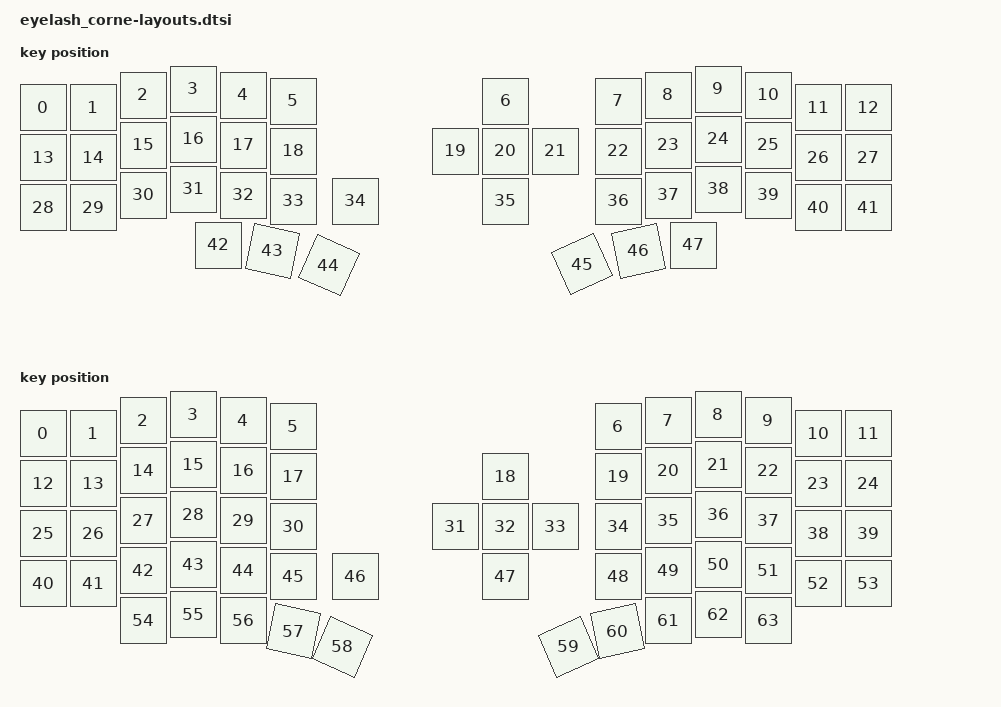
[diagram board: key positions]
/*
*
* Copyright (c) 2024 The ZMK Contributors
* SPDX-License-Identifier: MIT
*
*/

#include <physical_layouts.dtsi>

/ {
    corne_layout: corne_layout {
        compatible = "zmk,physical-layout";
        display-name = "Corne";

        transform = <&corne_transform>;

        keys  //                     w   h    x    y     rot    rx    r
            = <&key_physical_attrs 100 100    0   37       0     0     0>
            , <&key_physical_attrs 100 100  100   37       0     0     0>
            , <&key_physical_attrs 100 100  200   12       0     0     0>
            , <&key_physical_attrs 100 100  300    0       0     0     0>
            , <&key_physical_attrs 100 100  400   12       0     0     0>
            , <&key_physical_attrs 100 100  500   24       0     0     0>
            , <&key_physical_attrs 100 100  925   24       0     0     0>
            , <&key_physical_attrs 100 100 1150   24       0     0     0>
            , <&key_physical_attrs 100 100 1250   12       0     0     0>
            , <&key_physical_attrs 100 100 1350    0       0     0     0>
            , <&key_physical_attrs 100 100 1450   12       0     0     0>
            , <&key_physical_attrs 100 100 1550   37       0     0     0>
            , <&key_physical_attrs 100 100 1650   37       0     0     0>
            , <&key_physical_attrs 100 100    0  137       0     0     0>
            , <&key_physical_attrs 100 100  100  137       0     0     0>
            , <&key_physical_attrs 100 100  200  112       0     0     0>
            , <&key_physical_attrs 100 100  300  100       0     0     0>
            , <&key_physical_attrs 100 100  400  112       0     0     0>
            , <&key_physical_attrs 100 100  500  124       0     0     0>
            , <&key_physical_attrs 100 100  825  124       0     0     0>
            , <&key_physical_attrs 100 100  925  124       0     0     0>
            , <&key_physical_attrs 100 100 1025  124       0     0     0>
            , <&key_physical_attrs 100 100 1150  124       0     0     0>
            , <&key_physical_attrs 100 100 1250  112       0     0     0>
            , <&key_physical_attrs 100 100 1350  100       0     0     0>
            , <&key_physical_attrs 100 100 1450  112       0     0     0>
            , <&key_physical_attrs 100 100 1550  137       0     0     0>
            , <&key_physical_attrs 100 100 1650  137       0     0     0>
            , <&key_physical_attrs 100 100    0  237       0     0     0>
            , <&key_physical_attrs 100 100  100  237       0     0     0>
            , <&key_physical_attrs 100 100  200  212       0     0     0>
            , <&key_physical_attrs 100 100  300  200       0     0     0>
            , <&key_physical_attrs 100 100  400  212       0     0     0>
            , <&key_physical_attrs 100 100  500  224       0     0     0>
            , <&key_physical_attrs 100 100  625  224       0     0     0>
            , <&key_physical_attrs 100 100  925  224       0     0     0>
            , <&key_physical_attrs 100 100 1150  224       0     0     0>
            , <&key_physical_attrs 100 100 1250  212       0     0     0>
            , <&key_physical_attrs 100 100 1350  200       0     0     0>
            , <&key_physical_attrs 100 100 1450  212       0     0     0>
            , <&key_physical_attrs 100 100 1550  237       0     0     0>
            , <&key_physical_attrs 100 100 1650  237       0     0     0>
            , <&key_physical_attrs 100 100  350  312       0     0     0>
            , <&key_physical_attrs 100 100  450  312    1200   450   412>
            , <&key_physical_attrs 100 100  550  312    2400   515   433>
            , <&key_physical_attrs 100 100 1100  312 (-2400)  1230   433>
            , <&key_physical_attrs 100 100 1200  312 (-1200)  1300   412>
            , <&key_physical_attrs 100 100 1300  312       0     0     0>
            ;
    };

    sofle_layout: sofle_layout {
        compatible = "zmk,physical-layout";
        display-name = "Sofle";

        transform = <&sofle_transform>;

        keys  //                     w   h    x    y     rot    rx    ry
            = <&key_physical_attrs 100 100    0   37       0     0     0>
            , <&key_physical_attrs 100 100  100   37       0     0     0>
            , <&key_physical_attrs 100 100  200   12       0     0     0>
            , <&key_physical_attrs 100 100  300    0       0     0     0>
            , <&key_physical_attrs 100 100  400   12       0     0     0>
            , <&key_physical_attrs 100 100  500   24       0     0     0>
            , <&key_physical_attrs 100 100 1150   24       0     0     0>
            , <&key_physical_attrs 100 100 1250   12       0     0     0>
            , <&key_physical_attrs 100 100 1350    0       0     0     0>
            , <&key_physical_attrs 100 100 1450   12       0     0     0>
            , <&key_physical_attrs 100 100 1550   37       0     0     0>
            , <&key_physical_attrs 100 100 1650   37       0     0     0>
            , <&key_physical_attrs 100 100    0  137       0     0     0>
            , <&key_physical_attrs 100 100  100  137       0     0     0>
            , <&key_physical_attrs 100 100  200  112       0     0     0>
            , <&key_physical_attrs 100 100  300  100       0     0     0>
            , <&key_physical_attrs 100 100  400  112       0     0     0>
            , <&key_physical_attrs 100 100  500  124       0     0     0>
            , <&key_physical_attrs 100 100  925  124       0     0     0>
            , <&key_physical_attrs 100 100 1150  124       0     0     0>
            , <&key_physical_attrs 100 100 1250  112       0     0     0>
            , <&key_physical_attrs 100 100 1350  100       0     0     0>
            , <&key_physical_attrs 100 100 1450  112       0     0     0>
            , <&key_physical_attrs 100 100 1550  137       0     0     0>
            , <&key_physical_attrs 100 100 1650  137       0     0     0>
            , <&key_physical_attrs 100 100    0  237       0     0     0>
            , <&key_physical_attrs 100 100  100  237       0     0     0>
            , <&key_physical_attrs 100 100  200  212       0     0     0>
            , <&key_physical_attrs 100 100  300  200       0     0     0>
            , <&key_physical_attrs 100 100  400  212       0     0     0>
            , <&key_physical_attrs 100 100  500  224       0     0     0>
            , <&key_physical_attrs 100 100  825  224       0     0     0>
            , <&key_physical_attrs 100 100  925  224       0     0     0>
            , <&key_physical_attrs 100 100 1025  224       0     0     0>
            , <&key_physical_attrs 100 100 1150  224       0     0     0>
            , <&key_physical_attrs 100 100 1250  212       0     0     0>
            , <&key_physical_attrs 100 100 1350  200       0     0     0>
            , <&key_physical_attrs 100 100 1450  212       0     0     0>
            , <&key_physical_attrs 100 100 1550  237       0     0     0>
            , <&key_physical_attrs 100 100 1650  237       0     0     0>
            , <&key_physical_attrs 100 100    0  337       0     0     0>
            , <&key_physical_attrs 100 100  100  337       0     0     0>
            , <&key_physical_attrs 100 100  200  312       0     0     0>
            , <&key_physical_attrs 100 100  300  300       0     0     0>
            , <&key_physical_attrs 100 100  400  312       0     0     0>
            , <&key_physical_attrs 100 100  500  324       0     0     0>
            , <&key_physical_attrs 100 100  625  324       0     0     0>
            , <&key_physical_attrs 100 100  925  324       0     0     0>
            , <&key_physical_attrs 100 100 1150  324       0     0     0>
            , <&key_physical_attrs 100 100 1250  312       0     0     0>
            , <&key_physical_attrs 100 100 1350  300       0     0     0>
            , <&key_physical_attrs 100 100 1450  312       0     0     0>
            , <&key_physical_attrs 100 100 1550  337       0     0     0>
            , <&key_physical_attrs 100 100 1650  337       0     0     0>
            , <&key_physical_attrs 100 100  200  412       0     0     0>
            , <&key_physical_attrs 100 100  300  400       0     0     0>
            , <&key_physical_attrs 100 100  400  412       0     0     0>
            , <&key_physical_attrs 100 100  515  424    1200   515   412>
            , <&key_physical_attrs 100 100  630  448    2400   625   433>
            , <&key_physical_attrs 100 100 1020  448  (-2400) 1125   433>
            , <&key_physical_attrs 100 100 1135  424  (-1200) 1235   412>
            , <&key_physical_attrs 100 100 1250  412       0     0     0>
            , <&key_physical_attrs 100 100 1350  400       0     0     0>
            , <&key_physical_attrs 100 100 1450  412       0     0     0>
        ;
    };

    position_map {
        compatible = "zmk,physical-layout-position-map";

        complete;

        corne_layout {
            physical-layout = <&corne_layout>;
            positions
                = <48 49 50 51 52 53 54 55 56 57 58 59  0  1  2  3>
                , < 4  5  6  7  8  9 10 11 12 13 14 15 16 17 18 19>
                , <20 21 22 23 24 25 26 27 28 29 30 31 32 33 34 35>
                , <36 37 38 39 40 41 60 61 42 43 44 45 46 47 62 63>
                ;
        };

        sofle_layout {
            physical-layout = <&sofle_layout>;
            positions
                = < 0  1  2  3  4  5  6  7  8  9 10 11 12 13 14 15>
                , <16 17 18 19 20 21 22 23 24 25 26 27 28 29 30 31>
                , <32 33 34 35 36 37 38 39 40 41 42 43 44 45 46 47>
                , <48 49 50 51 52 53 54 55 56 57 58 59 60 61 62 63>
                ;
        };
    };
};
